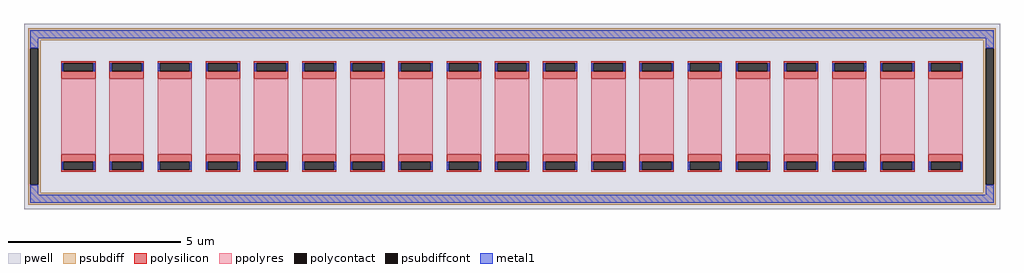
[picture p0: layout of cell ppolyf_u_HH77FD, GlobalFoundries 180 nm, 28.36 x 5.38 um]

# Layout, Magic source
magic
tech gf180mcuD
magscale 1 10
<< pwell >>
rect -2836 -538 2836 538
<< psubdiff >>
rect -2812 442 2812 514
rect -2812 398 -2740 442
rect -2812 -398 -2799 398
rect -2753 -398 -2740 398
rect 2740 398 2812 442
rect -2812 -442 -2740 -398
rect 2740 -398 2753 398
rect 2799 -398 2812 398
rect 2740 -442 2812 -398
rect -2812 -514 2812 -442
<< psubdiffcont >>
rect -2799 -398 -2753 398
rect 2753 -398 2799 398
<< polysilicon >>
rect -2620 309 -2420 322
rect -2620 263 -2607 309
rect -2433 263 -2420 309
rect -2620 220 -2420 263
rect -2620 -263 -2420 -220
rect -2620 -309 -2607 -263
rect -2433 -309 -2420 -263
rect -2620 -322 -2420 -309
rect -2340 309 -2140 322
rect -2340 263 -2327 309
rect -2153 263 -2140 309
rect -2340 220 -2140 263
rect -2340 -263 -2140 -220
rect -2340 -309 -2327 -263
rect -2153 -309 -2140 -263
rect -2340 -322 -2140 -309
rect -2060 309 -1860 322
rect -2060 263 -2047 309
rect -1873 263 -1860 309
rect -2060 220 -1860 263
rect -2060 -263 -1860 -220
rect -2060 -309 -2047 -263
rect -1873 -309 -1860 -263
rect -2060 -322 -1860 -309
rect -1780 309 -1580 322
rect -1780 263 -1767 309
rect -1593 263 -1580 309
rect -1780 220 -1580 263
rect -1780 -263 -1580 -220
rect -1780 -309 -1767 -263
rect -1593 -309 -1580 -263
rect -1780 -322 -1580 -309
rect -1500 309 -1300 322
rect -1500 263 -1487 309
rect -1313 263 -1300 309
rect -1500 220 -1300 263
rect -1500 -263 -1300 -220
rect -1500 -309 -1487 -263
rect -1313 -309 -1300 -263
rect -1500 -322 -1300 -309
rect -1220 309 -1020 322
rect -1220 263 -1207 309
rect -1033 263 -1020 309
rect -1220 220 -1020 263
rect -1220 -263 -1020 -220
rect -1220 -309 -1207 -263
rect -1033 -309 -1020 -263
rect -1220 -322 -1020 -309
rect -940 309 -740 322
rect -940 263 -927 309
rect -753 263 -740 309
rect -940 220 -740 263
rect -940 -263 -740 -220
rect -940 -309 -927 -263
rect -753 -309 -740 -263
rect -940 -322 -740 -309
rect -660 309 -460 322
rect -660 263 -647 309
rect -473 263 -460 309
rect -660 220 -460 263
rect -660 -263 -460 -220
rect -660 -309 -647 -263
rect -473 -309 -460 -263
rect -660 -322 -460 -309
rect -380 309 -180 322
rect -380 263 -367 309
rect -193 263 -180 309
rect -380 220 -180 263
rect -380 -263 -180 -220
rect -380 -309 -367 -263
rect -193 -309 -180 -263
rect -380 -322 -180 -309
rect -100 309 100 322
rect -100 263 -87 309
rect 87 263 100 309
rect -100 220 100 263
rect -100 -263 100 -220
rect -100 -309 -87 -263
rect 87 -309 100 -263
rect -100 -322 100 -309
rect 180 309 380 322
rect 180 263 193 309
rect 367 263 380 309
rect 180 220 380 263
rect 180 -263 380 -220
rect 180 -309 193 -263
rect 367 -309 380 -263
rect 180 -322 380 -309
rect 460 309 660 322
rect 460 263 473 309
rect 647 263 660 309
rect 460 220 660 263
rect 460 -263 660 -220
rect 460 -309 473 -263
rect 647 -309 660 -263
rect 460 -322 660 -309
rect 740 309 940 322
rect 740 263 753 309
rect 927 263 940 309
rect 740 220 940 263
rect 740 -263 940 -220
rect 740 -309 753 -263
rect 927 -309 940 -263
rect 740 -322 940 -309
rect 1020 309 1220 322
rect 1020 263 1033 309
rect 1207 263 1220 309
rect 1020 220 1220 263
rect 1020 -263 1220 -220
rect 1020 -309 1033 -263
rect 1207 -309 1220 -263
rect 1020 -322 1220 -309
rect 1300 309 1500 322
rect 1300 263 1313 309
rect 1487 263 1500 309
rect 1300 220 1500 263
rect 1300 -263 1500 -220
rect 1300 -309 1313 -263
rect 1487 -309 1500 -263
rect 1300 -322 1500 -309
rect 1580 309 1780 322
rect 1580 263 1593 309
rect 1767 263 1780 309
rect 1580 220 1780 263
rect 1580 -263 1780 -220
rect 1580 -309 1593 -263
rect 1767 -309 1780 -263
rect 1580 -322 1780 -309
rect 1860 309 2060 322
rect 1860 263 1873 309
rect 2047 263 2060 309
rect 1860 220 2060 263
rect 1860 -263 2060 -220
rect 1860 -309 1873 -263
rect 2047 -309 2060 -263
rect 1860 -322 2060 -309
rect 2140 309 2340 322
rect 2140 263 2153 309
rect 2327 263 2340 309
rect 2140 220 2340 263
rect 2140 -263 2340 -220
rect 2140 -309 2153 -263
rect 2327 -309 2340 -263
rect 2140 -322 2340 -309
rect 2420 309 2620 322
rect 2420 263 2433 309
rect 2607 263 2620 309
rect 2420 220 2620 263
rect 2420 -263 2620 -220
rect 2420 -309 2433 -263
rect 2607 -309 2620 -263
rect 2420 -322 2620 -309
<< polycontact >>
rect -2607 263 -2433 309
rect -2607 -309 -2433 -263
rect -2327 263 -2153 309
rect -2327 -309 -2153 -263
rect -2047 263 -1873 309
rect -2047 -309 -1873 -263
rect -1767 263 -1593 309
rect -1767 -309 -1593 -263
rect -1487 263 -1313 309
rect -1487 -309 -1313 -263
rect -1207 263 -1033 309
rect -1207 -309 -1033 -263
rect -927 263 -753 309
rect -927 -309 -753 -263
rect -647 263 -473 309
rect -647 -309 -473 -263
rect -367 263 -193 309
rect -367 -309 -193 -263
rect -87 263 87 309
rect -87 -309 87 -263
rect 193 263 367 309
rect 193 -309 367 -263
rect 473 263 647 309
rect 473 -309 647 -263
rect 753 263 927 309
rect 753 -309 927 -263
rect 1033 263 1207 309
rect 1033 -309 1207 -263
rect 1313 263 1487 309
rect 1313 -309 1487 -263
rect 1593 263 1767 309
rect 1593 -309 1767 -263
rect 1873 263 2047 309
rect 1873 -309 2047 -263
rect 2153 263 2327 309
rect 2153 -309 2327 -263
rect 2433 263 2607 309
rect 2433 -309 2607 -263
<< ppolyres >>
rect -2620 -220 -2420 220
rect -2340 -220 -2140 220
rect -2060 -220 -1860 220
rect -1780 -220 -1580 220
rect -1500 -220 -1300 220
rect -1220 -220 -1020 220
rect -940 -220 -740 220
rect -660 -220 -460 220
rect -380 -220 -180 220
rect -100 -220 100 220
rect 180 -220 380 220
rect 460 -220 660 220
rect 740 -220 940 220
rect 1020 -220 1220 220
rect 1300 -220 1500 220
rect 1580 -220 1780 220
rect 1860 -220 2060 220
rect 2140 -220 2340 220
rect 2420 -220 2620 220
<< metal1 >>
rect -2799 455 2799 501
rect -2799 398 -2753 455
rect 2753 398 2799 455
rect -2618 263 -2607 309
rect -2433 263 -2422 309
rect -2338 263 -2327 309
rect -2153 263 -2142 309
rect -2058 263 -2047 309
rect -1873 263 -1862 309
rect -1778 263 -1767 309
rect -1593 263 -1582 309
rect -1498 263 -1487 309
rect -1313 263 -1302 309
rect -1218 263 -1207 309
rect -1033 263 -1022 309
rect -938 263 -927 309
rect -753 263 -742 309
rect -658 263 -647 309
rect -473 263 -462 309
rect -378 263 -367 309
rect -193 263 -182 309
rect -98 263 -87 309
rect 87 263 98 309
rect 182 263 193 309
rect 367 263 378 309
rect 462 263 473 309
rect 647 263 658 309
rect 742 263 753 309
rect 927 263 938 309
rect 1022 263 1033 309
rect 1207 263 1218 309
rect 1302 263 1313 309
rect 1487 263 1498 309
rect 1582 263 1593 309
rect 1767 263 1778 309
rect 1862 263 1873 309
rect 2047 263 2058 309
rect 2142 263 2153 309
rect 2327 263 2338 309
rect 2422 263 2433 309
rect 2607 263 2618 309
rect -2618 -309 -2607 -263
rect -2433 -309 -2422 -263
rect -2338 -309 -2327 -263
rect -2153 -309 -2142 -263
rect -2058 -309 -2047 -263
rect -1873 -309 -1862 -263
rect -1778 -309 -1767 -263
rect -1593 -309 -1582 -263
rect -1498 -309 -1487 -263
rect -1313 -309 -1302 -263
rect -1218 -309 -1207 -263
rect -1033 -309 -1022 -263
rect -938 -309 -927 -263
rect -753 -309 -742 -263
rect -658 -309 -647 -263
rect -473 -309 -462 -263
rect -378 -309 -367 -263
rect -193 -309 -182 -263
rect -98 -309 -87 -263
rect 87 -309 98 -263
rect 182 -309 193 -263
rect 367 -309 378 -263
rect 462 -309 473 -263
rect 647 -309 658 -263
rect 742 -309 753 -263
rect 927 -309 938 -263
rect 1022 -309 1033 -263
rect 1207 -309 1218 -263
rect 1302 -309 1313 -263
rect 1487 -309 1498 -263
rect 1582 -309 1593 -263
rect 1767 -309 1778 -263
rect 1862 -309 1873 -263
rect 2047 -309 2058 -263
rect 2142 -309 2153 -263
rect 2327 -309 2338 -263
rect 2422 -309 2433 -263
rect 2607 -309 2618 -263
rect -2799 -455 -2753 -398
rect 2753 -455 2799 -398
rect -2799 -501 2799 -455
<< properties >>
string FIXED_BBOX -2776 -478 2776 478
string gencell ppolyf_u
string library gf180mcu
string parameters w 1.0 l 2.2 m 1 nx 19 wmin 0.80 lmin 1.00 class resistor rho 315 val 734.888 dummy 0 dw 0.057 term 0.0 sterm 0.0 caplen 0.4 snake 0 guard 1 guard_type pwell glc 1 grc 1 gtc 0 gbc 0 roverlap 0 endcov 100 full_metal 1
<< end >>
